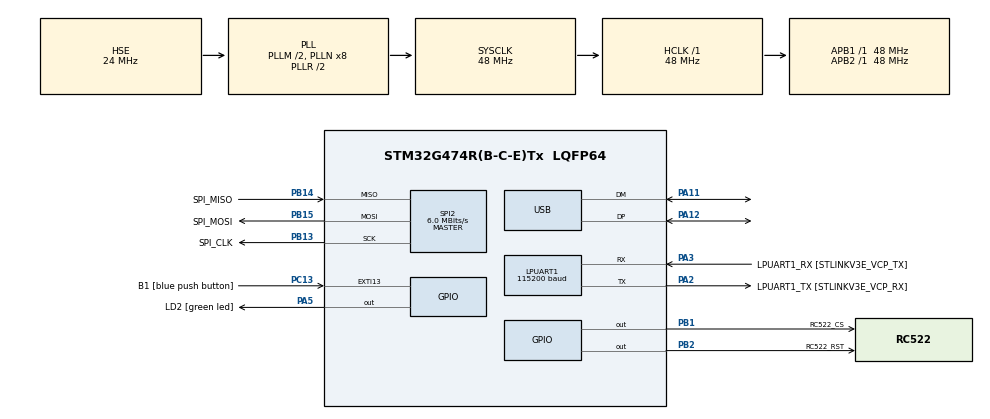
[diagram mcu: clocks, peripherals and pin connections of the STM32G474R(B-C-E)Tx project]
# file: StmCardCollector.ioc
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LPUART1.BaudRate=115200
LPUART1.WordLength=UART_WORDLENGTH_8B
Mcu.Family=STM32G4
Mcu.Name=STM32G474R(B-C-E)Tx
Mcu.Package=LQFP64
NVIC.EXTI15_10_IRQn=true\:0\:0\:false\:true\:true\:1\:true\:true\:true
NVIC.PriorityGroup=NVIC_PRIORITYGROUP_4
NVIC.USB_LP_IRQn=true\:0\:0\:false\:false\:true\:false\:true\:true
PA11.Mode=Device
PA11.Signal=USB_DM
PA12.Mode=Device
PA12.Signal=USB_DP
PA13.GPIO_Label=T_SWDIO
PA13.Mode=Serial_Wire
PA13.Signal=SYS_JTMS-SWDIO
PA14.GPIO_Label=T_SWCLK
PA14.Mode=Serial_Wire
PA14.Signal=SYS_JTCK-SWCLK
PA2.GPIO_Label=LPUART1_TX [STLINKV3E_VCP_RX]
PA2.Mode=Asynchronous
PA2.Signal=LPUART1_TX
PA3.GPIO_Label=LPUART1_RX [STLINKV3E_VCP_TX]
PA3.Mode=Asynchronous
PA3.Signal=LPUART1_RX
PA5.GPIO_Label=LD2 [green led]
PA5.Signal=GPIO_Output
PB1.GPIO_Label=RC522_CS
PB1.PinState=GPIO_PIN_SET
PB1.Signal=GPIO_Output
PB13.GPIO_Label=SPI_CLK
PB13.Mode=Full_Duplex_Master
PB13.Signal=SPI2_SCK
PB14.GPIO_Label=SPI_MISO
PB14.Mode=Full_Duplex_Master
PB14.Signal=SPI2_MISO
PB15.GPIO_Label=SPI_MOSI
PB15.Mode=Full_Duplex_Master
PB15.Signal=SPI2_MOSI
PB2.GPIO_Label=RC522_RST
PB2.PinState=GPIO_PIN_SET
PB2.Signal=GPIO_Output
PB3.GPIO_Label=T_SWO
PB3.Signal=SYS_JTDO-SWO
PC13.GPIO_Label=B1 [blue push button]
PC13.Signal=GPXTI13
PC14-OSC32_IN.Mode=LSE-External-Oscillator
PC14-OSC32_IN.Signal=RCC_OSC32_IN
PC15-OSC32_OUT.Mode=LSE-External-Oscillator
PC15-OSC32_OUT.Signal=RCC_OSC32_OUT
PF0-OSC_IN.Mode=HSE-External-Oscillator
PF0-OSC_IN.Signal=RCC_OSC_IN
PF1-OSC_OUT.Mode=HSE-External-Oscillator
PF1-OSC_OUT.Signal=RCC_OSC_OUT
ProjectManager.HeapSize=0x200
ProjectManager.StackSize=0x400
ProjectManager.TargetToolchain=CMake
RCC.ADC12Freq_Value=48000000
RCC.ADC345Freq_Value=48000000
RCC.AHBFreq_Value=48000000
RCC.APB1Freq_Value=48000000
RCC.APB1TimFreq_Value=48000000
RCC.APB2Freq_Value=48000000
RCC.APB2TimFreq_Value=48000000
RCC.CortexFreq_Value=48000000
RCC.EXTERNAL_CLOCK_VALUE=12288000
RCC.HCLKFreq_Value=48000000
RCC.HSE_VALUE=24000000
RCC.HSI48_VALUE=48000000
RCC.HSI_VALUE=16000000
RCC.PLLM=RCC_PLLM_DIV2
RCC.PLLSourceVirtual=RCC_PLLSOURCE_HSE
RCC.RTCClockSelection=RCC_RTCCLKSOURCE_LSE
RCC.SYSCLKFreq_VALUE=48000000
RCC.SYSCLKSource=RCC_SYSCLKSOURCE_PLLCLK
RCC.USBFreq_Value=48000000
RCC.VCOOutputFreq_Value=96000000
SPI2.BaudRatePrescaler=SPI_BAUDRATEPRESCALER_8
SPI2.CalculateBaudRate=6.0 MBits/s
SPI2.DataSize=SPI_DATASIZE_8BIT
SPI2.Direction=SPI_DIRECTION_2LINES
SPI2.Mode=SPI_MODE_MASTER
SPI2.VirtualType=VM_MASTER
USB_DEVICE.CLASS_NAME_FS=MSC
USB_DEVICE.VirtualMode=Msc
USB_DEVICE.VirtualModeFS=Msc_FS
VP_SYS_VS_DBSignals.Mode=DisableDeadBatterySignals
VP_USB_DEVICE_VS_USB_DEVICE_MSC_FS.Mode=MSC_FS
board=NUCLEO-G474RE

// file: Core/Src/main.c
/* USER CODE BEGIN Header */
/**
 ******************************************************************************
 * @file           : main.c
 * @brief          : Main program body
 ******************************************************************************
 * @attention
 *
 * Copyright (c) 2024 STMicroelectronics.
 * All rights reserved.
 *
 * This software is licensed under terms that can be found in the LICENSE file
 * in the root directory of this software component.
 * If no LICENSE file comes with this software, it is provided AS-IS.
 *
 ******************************************************************************
 */
/* USER CODE END Header */
#include "main.h"
#include "usart.h"
#include "spi.h"
#include "usb_device.h"
#include "gpio.h"

/* USER CODE BEGIN Includes */
#include "usb_settings.h"
#include "rc522.h"
#include "FatFs/ff.h"
#include "usbd_msc_scsi.h"
#include <stdlib.h>

// ================ PORADNIK
// https://www.youtube.com/watch?v=Us_sTdGGcOQ&ab_channel=ControllersTech
// ================

/* USER CODE END Includes */

/* USER CODE BEGIN PV */
uint8_t str[MAX_LEN]; // Max_LEN = 16
uint8_t sNum[MAX_LEN];
char tagString[8];

FATFS fs;
extern USBD_HandleTypeDef hUsbDeviceFS;

/* USER CODE END PV */

void SystemClock_Config(void);
static void MX_NVIC_Init(void);

/* USER CODE BEGIN 0 */
void MountAndFormatDisk()
{
  BYTE work[4096];    // Bufor roboczy dla f_mkfs
  MKFS_PARM mkfs_opt; // Opcje formatowania

  // Montowanie systemu plików
  FRESULT fr = f_mount(&fs, "RAM", 0); // Montowanie systemu plików
  if (fr != FR_OK)
  {
    // Obsługa błędów
  }

  // Konfiguracja opcji formatowania
  mkfs_opt.fmt = FM_FAT; // Wybierz format FAT
  mkfs_opt.au_size = 0;  // Automatyczny rozmiar jednostki alokacji

  // Sformatowanie dysku
  fr = f_mkfs("RAM", &mkfs_opt, work, sizeof(work));
  if (fr != FR_OK)
  {
    // Obsługa błędów
  }

  // Odinstalowanie systemu plików
  f_unmount("RAM");
}

/* USER CODE END 0 */

int main(void)
{

  /* MCU Configuration--------------------------------------------------------*/

  /* Reset of all peripherals, Initializes the Flash interface and the Systick. */
  HAL_Init();

  /* Configure the system clock */
  SystemClock_Config();

  /* Initialize all configured peripherals */
  MX_GPIO_Init();
  MX_LPUART1_UART_Init();
  MX_USB_Device_Init();
  MX_SPI2_Init();

  /* Initialize interrupts */
  MX_NVIC_Init();
  /* USER CODE BEGIN 2 */
  MountAndFormatDisk();
  MFRC522_Init();
  /* USER CODE END 2 */

  /* Infinite loop */
  /* USER CODE BEGIN WHILE */
  while (1)
  {
    // uint8_t reg = 0x37;
    // uint8_t version;
    // uint8_t address = ((reg << 1) & 0x7E) | 0x80; // MSB = 1 for reading, address is 7 bits

    // HAL_GPIO_WritePin(RC522_CS_GPIO_Port, RC522_CS_Pin, GPIO_PIN_RESET); // Assert CS (if using GPIO for NSS)

    // HAL_SPI_Transmit(&hspi2, &address, 1, 50);
    // HAL_SPI_Receive(&hspi2, &version, 1, 50);

    // HAL_GPIO_WritePin(RC522_CS_GPIO_Port, RC522_CS_Pin, GPIO_PIN_SET); // De-assert CS

    // if (version != 0)
    // {
    //   int i = 1;
    // }

    // ---

    uint8_t status1 = MFRC522_Request(PICC_REQIDL, str);

    uint8_t status2 = MFRC522_Anticoll(str);

    memcpy(sNum, str, 16);
    HAL_Delay(100);

    if (status2 == MI_OK)
    {
      itoa(sNum[0], tagString, 16);
      itoa(sNum[1], &tagString[1 * 2], 16);
      itoa(sNum[2], &tagString[2 * 2], 16);
      itoa(sNum[3], &tagString[3 * 2], 16);
      int x = 1;
    }

    /* USER CODE END WHILE */

  }
}

void SystemClock_Config(void)
{
  RCC_OscInitTypeDef RCC_OscInitStruct = {0};
  RCC_ClkInitTypeDef RCC_ClkInitStruct = {0};

  /** Configure the main internal regulator output voltage
   */
  HAL_PWREx_ControlVoltageScaling(PWR_REGULATOR_VOLTAGE_SCALE1);

  /** Initializes the RCC Oscillators according to the specified parameters
   * in the RCC_OscInitTypeDef structure.
   */
  RCC_OscInitStruct.OscillatorType = RCC_OSCILLATORTYPE_HSE;
  RCC_OscInitStruct.HSEState = RCC_HSE_ON;
  RCC_OscInitStruct.PLL.PLLState = RCC_PLL_ON;
  RCC_OscInitStruct.PLL.PLLSource = RCC_PLLSOURCE_HSE;
  RCC_OscInitStruct.PLL.PLLM = RCC_PLLM_DIV2;
  RCC_OscInitStruct.PLL.PLLN = 8;
  RCC_OscInitStruct.PLL.PLLP = RCC_PLLP_DIV2;
  RCC_OscInitStruct.PLL.PLLQ = RCC_PLLQ_DIV2;
  RCC_OscInitStruct.PLL.PLLR = RCC_PLLR_DIV2;
  if (HAL_RCC_OscConfig(&RCC_OscInitStruct) != HAL_OK)
  {
    Error_Handler();
  }

  /** Initializes the CPU, AHB and APB buses clocks
   */
  RCC_ClkInitStruct.ClockType = RCC_CLOCKTYPE_HCLK | RCC_CLOCKTYPE_SYSCLK | RCC_CLOCKTYPE_PCLK1 | RCC_CLOCKTYPE_PCLK2;
  RCC_ClkInitStruct.SYSCLKSource = RCC_SYSCLKSOURCE_PLLCLK;
  RCC_ClkInitStruct.AHBCLKDivider = RCC_SYSCLK_DIV1;
  RCC_ClkInitStruct.APB1CLKDivider = RCC_HCLK_DIV1;
  RCC_ClkInitStruct.APB2CLKDivider = RCC_HCLK_DIV1;

  if (HAL_RCC_ClockConfig(&RCC_ClkInitStruct, FLASH_LATENCY_1) != HAL_OK)
  {
    Error_Handler();
  }
}

/**
 * @brief NVIC Configuration.
 * @retval None
 */
static void MX_NVIC_Init(void)
{
  /* EXTI15_10_IRQn interrupt configuration */
  HAL_NVIC_SetPriority(EXTI15_10_IRQn, 0, 0);
  HAL_NVIC_EnableIRQ(EXTI15_10_IRQn);
}

/* USER CODE BEGIN 4 */

// void HAL_SPI_TxCpltCallback(SPI_HandleTypeDef *hspi)
// {
//   // Callback dla zakończenia transmisji przez SPI
// }

// void HAL_SPI_RxCpltCallback(SPI_HandleTypeDef *hspi)
// {
//   // Callback dla zakończenia odbioru przez SPI
// }

// void HAL_SPI_TxRxCpltCallback(SPI_HandleTypeDef *hspi)
// {
//   // Callback dla zakończenia transmisji i odbioru przez SPI
// }

void HAL_GPIO_EXTI_Callback(uint16_t GPIO_Pin)
{
  if (GPIO_Pin == B1_Pin)
  {
    FRESULT fr = f_mount(&fs, "RAM", 0); // Montowanie systemu plików

    FIL fil; // Obiekt pliku
    UINT bw; // Licznik zapisanych bajtów

    fr = f_open(&fil, "com.dat", FA_OPEN_APPEND | FA_WRITE);
    if (fr == FR_OK)
    {
      fr = f_write(&fil, "ABCDEFGH", 9 - 1, &bw); // Zapis "A" do pliku
      fr = f_sync(&fil);                          // Synchronizacja danych na dysku
      fr = f_close(&fil);                         // Zamknięcie pliku
    }

    f_unmount("RAM");

    HAL_GPIO_TogglePin(LD2_GPIO_Port, LD2_Pin);

    SCSI_ProcessCmd(&hUsbDeviceFS, 0, SCSI_TEST_UNIT_READY);
  }
}

/* USER CODE END 4 */

void Error_Handler(void)
{
  __disable_irq();
  while (1)
  {
  }
}
